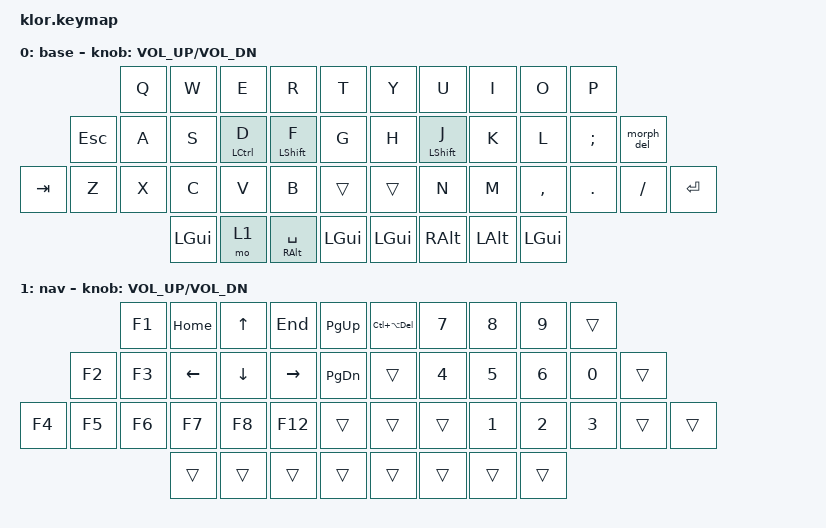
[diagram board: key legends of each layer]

//                               █         █    █            ▄▄▄▀▀▀▀▀▀▄▄▄        █▀▀▀▀▀▀▀▀▀▀█
//                               █        █     █          ▄▀            ▀▄      █          █
//                               █       █      █        ▄▀                ▀▄    █          █
//                               █      █       █        █                  █    █          █
//                               █     █        █       █                    █   █          █
//                               █    █         █       █                    █   █▄▄▄▄▄▄▄▄▄▄█
//                               █   █ █        █       █                    █   █      █
//                               █  █   █       █        █                  █    █       █
//                               █ █     █      █        ▀▄                ▄▀    █        █
//                               ██       █     █          ▀▄            ▄▀      █         █
//                               █         █    █▄▄▄▄▄▄▄▄    ▀▀▀▄▄▄▄▄▄▀▀▀        █          █
//
// ▄▄▄▄▄▄▄▄▄▄▄▄▄▄▄▄▄▄▄▄▄▄▄▄▄▄▄▄▄▄▄▄▄▄▄▄▄▄▄▄▄▄▄▄▄▄▄▄▄▄▄▄▄▄▄▄▄▄▄▄▄▄▄▄▄▄▄▄▄▄▄▄▄▄▄▄▄▄▄▄▄▄▄▄▄▄▄▄▄▄▄▄▄▄▄▄▄▄▄▄▄▄▄▄▄▄▄▄▄▄▄▄▄▄▄▄▄▄▄▄▄▄▄▄▄
       
#include <behaviors.dtsi>
#include <dt-bindings/zmk/keys.h>
#include <dt-bindings/zmk/bt.h>
#include <dt-bindings/zmk/outputs.h>
#include <dt-bindings/zmk/ext_power.h>
#include <dt-bindings/zmk/rgb.h>


/ {
    behaviors {
        bhm: balanced_homerow_mods {
            compatible = "zmk,behavior-hold-tap";
            #binding-cells = <2>;
            tapping-term-ms = <200>;    // <---[[moderate duration]]
            quick-tap-ms = <0>;
            flavor = "balanced";
            bindings = <&kp>, <&kp>;
        };
        bhm_space: bhm_space {
            compatible = "zmk,behavior-hold-tap";
            #binding-cells = <2>;
            tapping-term-ms = <200>;    // <---[[moderate duration]]
            quick-tap-ms = <0>;
            flavor = "balanced";
            bindings = <&kp>, <&kp>;
        };
        morph_enter: morph_enter {
            compatible = "zmk,behavior-mod-morph";
            bindings = <&kp ENTER>, <&kp BACKSPACE>;

            #binding-cells = <0>;
            mods = <(MOD_RALT)>;
        };

        morph_escape: morph_escape {
            compatible = "zmk,behavior-mod-morph";
            bindings = <&kp ESC>, <&kp TAB>;

            #binding-cells = <0>;
            mods = <(MOD_RALT)>;
        };

        morph_del: morph_del {
            compatible = "zmk,behavior-mod-morph";
            bindings = <&kp BACKSPACE>, <&kp DEL>;

            #binding-cells = <0>;
            mods = <(MOD_RALT)>;
        };
    };



        keymap {
                compatible = "zmk,keymap";

                base  {
                    bindings = <
             &kp Q  &kp W  &kp E     &kp R     &kp T        &kp Y     &kp U     &kp I      &kp O    &kp P
    &kp ESC   &kp A  &kp S  &bhm LCTRL D     &bhm LSHIFT F     &kp G        &kp H     &bhm LSHIFT J     &kp K      &kp L    &kp SEMI     &morph_del
    &kp TAB   &kp Z  &kp X  &kp C     &kp V     &kp B      &trans     &trans   &kp N     &kp M     &kp COMMA  &kp DOT  &kp FSLH  &kp ENTER
                                  &kp LGUI  &mo 1  &bhm_space RALT SPACE &kp LGUI   &kp LGUI  &kp RALT  &kp LALT  &kp LGUI   
                        >;
            sensor-bindings = <&inc_dec_kp C_VOL_UP C_VOL_DN>;
                };

                nav {
                    bindings = <
    &kp F1  &kp HOME  &kp UP    &kp END    &kp PG_UP    &kp LC(LA(DEL))  &kp N7  &kp N8  &kp N9  &trans
    &kp F2  &kp F3  &kp LEFT  &kp DOWN  &kp RIGHT  &kp PG_DN    &trans  &kp N4  &kp N5  &kp N6  &kp N0 &trans
    &kp F4  &kp F5  &kp F6    &kp F7    &kp F8     &kp F12   &trans  &trans  &trans  &kp N1  &kp N2  &kp N3  &trans  &trans 
                                  &trans    &trans     &trans       &trans  &trans  &trans &trans &trans
                        >;
            sensor-bindings = <&inc_dec_kp C_VOL_UP C_VOL_DN>;
                };

        };
};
